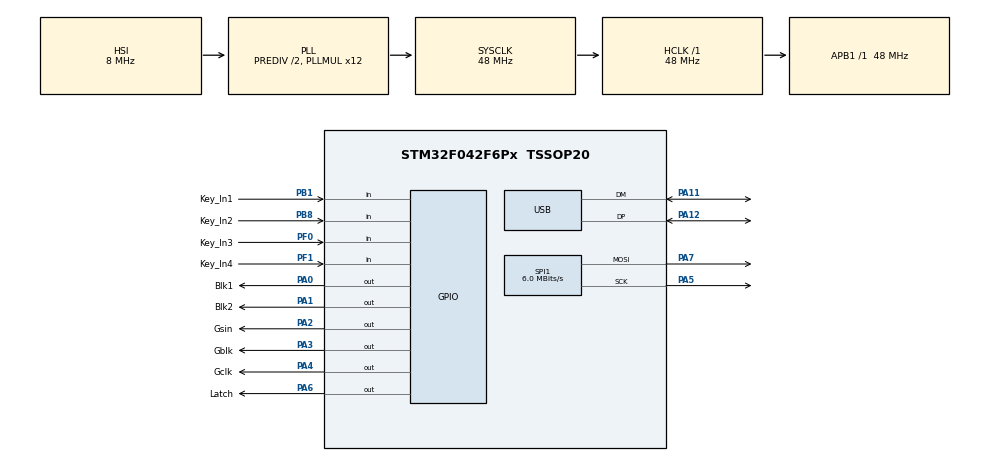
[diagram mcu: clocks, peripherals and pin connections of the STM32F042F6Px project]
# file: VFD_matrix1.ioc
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Dma.Request0=SPI1_TX
Dma.SPI1_TX.0.Direction=DMA_MEMORY_TO_PERIPH
Dma.SPI1_TX.0.Instance=DMA1_Channel3
Dma.SPI1_TX.0.MemDataAlignment=DMA_MDATAALIGN_BYTE
Dma.SPI1_TX.0.MemInc=DMA_MINC_ENABLE
Dma.SPI1_TX.0.Mode=DMA_NORMAL
Dma.SPI1_TX.0.PeriphDataAlignment=DMA_PDATAALIGN_BYTE
Dma.SPI1_TX.0.PeriphInc=DMA_PINC_DISABLE
Dma.SPI1_TX.0.Priority=DMA_PRIORITY_MEDIUM
Mcu.Family=STM32F0
Mcu.Name=STM32F042F6Px
Mcu.Package=TSSOP20
NVIC.DMA1_Channel2_3_IRQn=true\:1\:0\:true\:false\:true\:false\:true
NVIC.TIM16_IRQn=true\:1\:0\:true\:false\:true\:true\:true
NVIC.USB_IRQn=true\:0\:0\:false\:false\:true\:false\:true
PA0.GPIO_Label=Blk1
PA0.GPIO_Speed=GPIO_SPEED_FREQ_HIGH
PA0.Signal=GPIO_Output
PA1.GPIO_Label=Blk2
PA1.GPIO_Speed=GPIO_SPEED_FREQ_HIGH
PA1.Signal=GPIO_Output
PA11.Mode=Device
PA11.Signal=USB_DM
PA12.Mode=Device
PA12.Signal=USB_DP
PA13.Mode=Serial_Wire
PA13.Signal=SYS_SWDIO
PA14.Mode=Serial_Wire
PA14.Signal=SYS_SWCLK
PA2.GPIO_Label=Gsin
PA2.GPIO_Speed=GPIO_SPEED_FREQ_HIGH
PA2.Signal=GPIO_Output
PA3.GPIO_Label=Gblk
PA3.GPIO_Speed=GPIO_SPEED_FREQ_HIGH
PA3.Signal=GPIO_Output
PA4.GPIO_Label=Gclk
PA4.GPIO_Speed=GPIO_SPEED_FREQ_HIGH
PA4.Signal=GPIO_Output
PA5.GPIO_PuPd=GPIO_NOPULL
PA5.Mode=TX_Only_Simplex_Unidirect_Master
PA5.Signal=SPI1_SCK
PA6.GPIO_Label=Latch
PA6.GPIO_Speed=GPIO_SPEED_FREQ_HIGH
PA6.Signal=GPIO_Output
PA7.GPIO_PuPd=GPIO_NOPULL
PA7.Mode=TX_Only_Simplex_Unidirect_Master
PA7.Signal=SPI1_MOSI
PB1.GPIO_Label=Key_In1
PB1.Signal=GPIO_Input
PB8.GPIO_Label=Key_In2
PB8.Signal=GPIO_Input
PF0-OSC_IN.GPIO_Label=Key_In3
PF0-OSC_IN.Signal=GPIO_Input
PF1-OSC_OUT.GPIO_Label=Key_In4
PF1-OSC_OUT.Signal=GPIO_Input
ProjectManager.HeapSize=0x100
ProjectManager.StackSize=0x200
ProjectManager.TargetToolchain=STM32CubeIDE
RCC.AHBFreq_Value=48000000
RCC.APB1Freq_Value=48000000
RCC.APB1TimFreq_Value=48000000
RCC.HCLKFreq_Value=48000000
RCC.PLLDivider=RCC_PREDIV_DIV2
RCC.PLLMUL=RCC_PLL_MUL12
RCC.SYSCLKFreq_VALUE=48000000
RCC.SYSCLKSource=RCC_SYSCLKSOURCE_PLLCLK
SPI1.BaudRatePrescaler=SPI_BAUDRATEPRESCALER_8
SPI1.CLKPolarity=SPI_POLARITY_LOW
SPI1.CalculateBaudRate=6.0 MBits/s
SPI1.DataSize=SPI_DATASIZE_8BIT
SPI1.Direction=SPI_DIRECTION_2LINES
SPI1.Mode=SPI_MODE_MASTER
SPI1.NSSPMode=SPI_NSS_PULSE_DISABLE
SPI1.VirtualType=VM_MASTER
TIM16.Channel=TIM_CHANNEL_1
TIM16.OC1Preload=ENABLE
TIM16.Period=78
TIM16.Prescaler=47
USB_DEVICE.APP_RX_DATA_SIZE=16
USB_DEVICE.APP_TX_DATA_SIZE=16
USB_DEVICE.CLASS_NAME_FS=CDC
USB_DEVICE.USBD_MAX_STR_DESC_SIZ=512
USB_DEVICE.VirtualMode=Cdc
USB_DEVICE.VirtualModeFS=Cdc_FS
VP_SYS_VS_PINREMAP.Mode=PINREMAP
VP_TIM16_VS_ClockSourceINT.Mode=Enable_Timer
VP_TIM16_VS_no_output1.Mode=Output Compare1 No Output
VP_USB_DEVICE_VS_USB_DEVICE_CDC_FS.Mode=CDC_FS
board=custom

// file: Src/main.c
/* USER CODE BEGIN Header */
/**
  ******************************************************************************
  * @file           : main.c
  * @brief          : Main program body
  * 				:(c) maxspb69@gmail.com
  ******************************************************************************
  * @attention
  *
  * <h2><center>&copy; Copyright (c) 2021 STMicroelectronics.
  * All rights reserved.</center></h2>
  *
  * This software component is licensed by ST under BSD 3-Clause license,
  * the "License"; You may not use this file except in compliance with the
  * License. You may obtain a copy of the License at:
  *                        opensource.org/licenses/BSD-3-Clause
  *
  ******************************************************************************
  */
/* USER CODE END Header */
#include "main.h"
#include "usb_device.h"

/* USER CODE BEGIN Includes */
#include "VFD_driver.h"
/* USER CODE END Includes */

/* USER CODE BEGIN PD */
#define PACKET_SIZE 18
#define LINK_TIMEOUT 60 //3 sec (in 50ms parts)
/* USER CODE END PD */

SPI_HandleTypeDef hspi1;
DMA_HandleTypeDef hdma_spi1_tx;

TIM_HandleTypeDef htim16;

/* USER CODE BEGIN PV */

uint8_t str_rx[21];
uint8_t rx_len = 0;
uint8_t crc_calc;

const uint8_t decode_keys[4] = {0, 3, 1, 2};
char str1[64];

volatile uint8_t Key_Table[4];

uint8_t RX_packet[PACKET_SIZE];

extern uint8_t Brightness;
uint8_t link_timer = LINK_TIMEOUT - 1;
uint8_t out_of_serv_flag = 0;

/* USER CODE END PV */

void SystemClock_Config(void);
static void MX_GPIO_Init(void);
static void MX_DMA_Init(void);
static void MX_SPI1_Init(void);
static void MX_TIM16_Init(void);
/* USER CODE BEGIN PFP */

uint8_t calc_checksum(uint8_t * str, uint8_t len);

/* USER CODE END PFP */

int main(void)
{
  /* USER CODE BEGIN 1 */

	 uint8_t i=0;
  /* USER CODE END 1 */

  /* MCU Configuration--------------------------------------------------------*/

  /* Reset of all peripherals, Initializes the Flash interface and the Systick. */
  HAL_Init();

  /* Configure the system clock */
  SystemClock_Config();

  /* Initialize all configured peripherals */
  MX_GPIO_Init();
  MX_DMA_Init();
  MX_SPI1_Init();
  MX_TIM16_Init();
  MX_USB_DEVICE_Init();
  /* USER CODE BEGIN 2 */

  HAL_TIM_Base_Start_IT(&htim16); // Запускаем таймер для генерации прерывания
  Clear_Display();

  //HAL_Delay(500);

  sprintf(str1,"  PIPE CHECK SYSTEM");
  Show_String(0, 0, 12, str1);
  sprintf(str1,"   remote control");
  Show_String(0, 10, 12, str1);
  sprintf(str1,"   ver 1.0    2021 ");
  Show_String(0, 20, 12, str1);

 for(uint8_t i = 0; i < 4; i++)
 {
	 Brightness = i;
	 HAL_Delay(200);
 }
  HAL_Delay(3000);
  Clear_Display();

  str1[0] = 0x00;

  uint8_t pos = 0, line = 0;
  /* USER CODE END 2 */

  /* Infinite loop */
  while (1)
  {

    /* USER CODE BEGIN 3 */

	 /* if(rx_len == 16)
	  {
		  Clear_Display();
		  pos = 0; line = 0;
		  for(uint8_t i = 0; i < rx_len; i++)
		  {
			  sprintf(str1, "%02x ", str_rx[i]);
			  Show_String(pos, line, 12, str1);
			  pos += 18;
			  if(pos > 96)
			  {
				  pos = 0;
				  line += 10;
			  }
		  }
		  rx_len = 0;
	  }
	  */

	  if(rx_len == PACKET_SIZE)
	  {

		  memcpy(RX_packet, str_rx, PACKET_SIZE);
		  rx_len = 0;

		  if(RX_packet[0] == 0xab && RX_packet[1] == 0xba)	// Заголовок правильный
		  {
			  crc_calc = 0;
			  for(uint8_t i = 0; i < PACKET_SIZE - 1; i++)
				  crc_calc += RX_packet[i];
			  if(crc_calc == RX_packet[PACKET_SIZE-1])
			 {

				  print_data();
				  link_timer = 0;		// Сбрасываем счетчик таймаута
				  if(out_of_serv_flag)
				  {
					  Clear_Display();
					  out_of_serv_flag = 0;
				  }

			 }

		  }
	  }
	  link_timer++;
	  if(link_timer > LINK_TIMEOUT && out_of_serv_flag == 0)
	  {
		  Clear_Display();
		  out_of_serv_flag = 1;
		  sprintf(str1, "OUT OF SERVICE!");
		  Show_String(0, 8, 16, str1);
	  }

//--------------------- А тут проверим кнопочки - может клацнул кто по какой-нибудь из них -------------------------------------------------------------------------

	str1[0] = 0xba;
	str1[1] = 0xab;

	for(uint8_t i = 0; i < 4; i++)
		if(Key_Table[i] == 1)
		{
			str1[2] = decode_keys[i];
			str1[3] = calc_checksum(str1, 3);
			CDC_Transmit_FS(str1, 4);
			Key_Table[i] |= 0x80;
		}

HAL_Delay(50);

  }
  /* USER CODE END 3 */
}

void SystemClock_Config(void)
{
  RCC_OscInitTypeDef RCC_OscInitStruct = {0};
  RCC_ClkInitTypeDef RCC_ClkInitStruct = {0};
  RCC_PeriphCLKInitTypeDef PeriphClkInit = {0};

  /** Initializes the RCC Oscillators according to the specified parameters
  * in the RCC_OscInitTypeDef structure.
  */
  RCC_OscInitStruct.OscillatorType = RCC_OSCILLATORTYPE_HSI|RCC_OSCILLATORTYPE_HSI48;
  RCC_OscInitStruct.HSIState = RCC_HSI_ON;
  RCC_OscInitStruct.HSI48State = RCC_HSI48_ON;
  RCC_OscInitStruct.HSICalibrationValue = RCC_HSICALIBRATION_DEFAULT;
  RCC_OscInitStruct.PLL.PLLState = RCC_PLL_ON;
  RCC_OscInitStruct.PLL.PLLSource = RCC_PLLSOURCE_HSI;
  RCC_OscInitStruct.PLL.PLLMUL = RCC_PLL_MUL12;
  RCC_OscInitStruct.PLL.PREDIV = RCC_PREDIV_DIV2;
  if (HAL_RCC_OscConfig(&RCC_OscInitStruct) != HAL_OK)
  {
    Error_Handler();
  }
  /** Initializes the CPU, AHB and APB buses clocks
  */
  RCC_ClkInitStruct.ClockType = RCC_CLOCKTYPE_HCLK|RCC_CLOCKTYPE_SYSCLK
                              |RCC_CLOCKTYPE_PCLK1;
  RCC_ClkInitStruct.SYSCLKSource = RCC_SYSCLKSOURCE_PLLCLK;
  RCC_ClkInitStruct.AHBCLKDivider = RCC_SYSCLK_DIV1;
  RCC_ClkInitStruct.APB1CLKDivider = RCC_HCLK_DIV1;

  if (HAL_RCC_ClockConfig(&RCC_ClkInitStruct, FLASH_LATENCY_1) != HAL_OK)
  {
    Error_Handler();
  }
  PeriphClkInit.PeriphClockSelection = RCC_PERIPHCLK_USB;
  PeriphClkInit.UsbClockSelection = RCC_USBCLKSOURCE_HSI48;

  if (HAL_RCCEx_PeriphCLKConfig(&PeriphClkInit) != HAL_OK)
  {
    Error_Handler();
  }
}

static void MX_SPI1_Init(void)
{

  /* SPI1 parameter configuration*/
  hspi1.Instance = SPI1;
  hspi1.Init.Mode = SPI_MODE_MASTER;
  hspi1.Init.Direction = SPI_DIRECTION_2LINES;
  hspi1.Init.DataSize = SPI_DATASIZE_8BIT;
  hspi1.Init.CLKPolarity = SPI_POLARITY_LOW;
  hspi1.Init.CLKPhase = SPI_PHASE_1EDGE;
  hspi1.Init.NSS = SPI_NSS_SOFT;
  hspi1.Init.BaudRatePrescaler = SPI_BAUDRATEPRESCALER_8;
  hspi1.Init.FirstBit = SPI_FIRSTBIT_MSB;
  hspi1.Init.TIMode = SPI_TIMODE_DISABLE;
  hspi1.Init.CRCCalculation = SPI_CRCCALCULATION_DISABLE;
  hspi1.Init.CRCPolynomial = 7;
  hspi1.Init.CRCLength = SPI_CRC_LENGTH_DATASIZE;
  hspi1.Init.NSSPMode = SPI_NSS_PULSE_DISABLE;
  if (HAL_SPI_Init(&hspi1) != HAL_OK)
  {
    Error_Handler();
  }

}

static void MX_TIM16_Init(void)
{

  TIM_OC_InitTypeDef sConfigOC = {0};
  TIM_BreakDeadTimeConfigTypeDef sBreakDeadTimeConfig = {0};

  htim16.Instance = TIM16;
  htim16.Init.Prescaler = 47;
  htim16.Init.CounterMode = TIM_COUNTERMODE_UP;
  htim16.Init.Period = 78;
  htim16.Init.ClockDivision = TIM_CLOCKDIVISION_DIV1;
  htim16.Init.RepetitionCounter = 0;
  htim16.Init.AutoReloadPreload = TIM_AUTORELOAD_PRELOAD_DISABLE;
  if (HAL_TIM_Base_Init(&htim16) != HAL_OK)
  {
    Error_Handler();
  }
  if (HAL_TIM_OC_Init(&htim16) != HAL_OK)
  {
    Error_Handler();
  }
  sConfigOC.OCMode = TIM_OCMODE_TIMING;
  sConfigOC.Pulse = 0;
  sConfigOC.OCPolarity = TIM_OCPOLARITY_HIGH;
  sConfigOC.OCNPolarity = TIM_OCNPOLARITY_HIGH;
  sConfigOC.OCFastMode = TIM_OCFAST_DISABLE;
  sConfigOC.OCIdleState = TIM_OCIDLESTATE_RESET;
  sConfigOC.OCNIdleState = TIM_OCNIDLESTATE_RESET;
  if (HAL_TIM_OC_ConfigChannel(&htim16, &sConfigOC, TIM_CHANNEL_1) != HAL_OK)
  {
    Error_Handler();
  }
  __HAL_TIM_ENABLE_OCxPRELOAD(&htim16, TIM_CHANNEL_1);
  sBreakDeadTimeConfig.OffStateRunMode = TIM_OSSR_DISABLE;
  sBreakDeadTimeConfig.OffStateIDLEMode = TIM_OSSI_DISABLE;
  sBreakDeadTimeConfig.LockLevel = TIM_LOCKLEVEL_OFF;
  sBreakDeadTimeConfig.DeadTime = 0;
  sBreakDeadTimeConfig.BreakState = TIM_BREAK_DISABLE;
  sBreakDeadTimeConfig.BreakPolarity = TIM_BREAKPOLARITY_HIGH;
  sBreakDeadTimeConfig.AutomaticOutput = TIM_AUTOMATICOUTPUT_DISABLE;
  if (HAL_TIMEx_ConfigBreakDeadTime(&htim16, &sBreakDeadTimeConfig) != HAL_OK)
  {
    Error_Handler();
  }

}

static void MX_DMA_Init(void)
{

  /* DMA controller clock enable */
  __HAL_RCC_DMA1_CLK_ENABLE();

  /* DMA interrupt init */
  /* DMA1_Channel2_3_IRQn interrupt configuration */
  HAL_NVIC_SetPriority(DMA1_Channel2_3_IRQn, 1, 0);
  HAL_NVIC_EnableIRQ(DMA1_Channel2_3_IRQn);

}

static void MX_GPIO_Init(void)
{
  GPIO_InitTypeDef GPIO_InitStruct = {0};

  /* GPIO Ports Clock Enable */
  __HAL_RCC_GPIOB_CLK_ENABLE();
  __HAL_RCC_GPIOF_CLK_ENABLE();
  __HAL_RCC_GPIOA_CLK_ENABLE();

  /*Configure GPIO pin Output Level */
  HAL_GPIO_WritePin(GPIOA, Blk1_Pin|Blk2_Pin|Gsin_Pin|Gblk_Pin
                          |Gclk_Pin|Latch_Pin, GPIO_PIN_RESET);

  /*Configure GPIO pins : Key_In2_Pin Key_In1_Pin */
  GPIO_InitStruct.Pin = Key_In2_Pin|Key_In1_Pin;
  GPIO_InitStruct.Mode = GPIO_MODE_INPUT;
  GPIO_InitStruct.Pull = GPIO_NOPULL;
  HAL_GPIO_Init(GPIOB, &GPIO_InitStruct);

  /*Configure GPIO pins : Key_In3_Pin Key_In4_Pin */
  GPIO_InitStruct.Pin = Key_In3_Pin|Key_In4_Pin;
  GPIO_InitStruct.Mode = GPIO_MODE_INPUT;
  GPIO_InitStruct.Pull = GPIO_NOPULL;
  HAL_GPIO_Init(GPIOF, &GPIO_InitStruct);

  /*Configure GPIO pins : Blk1_Pin Blk2_Pin Gsin_Pin Gblk_Pin
                           Gclk_Pin Latch_Pin */
  GPIO_InitStruct.Pin = Blk1_Pin|Blk2_Pin|Gsin_Pin|Gblk_Pin
                          |Gclk_Pin|Latch_Pin;
  GPIO_InitStruct.Mode = GPIO_MODE_OUTPUT_PP;
  GPIO_InitStruct.Pull = GPIO_NOPULL;
  GPIO_InitStruct.Speed = GPIO_SPEED_FREQ_HIGH;
  HAL_GPIO_Init(GPIOA, &GPIO_InitStruct);

}

/* USER CODE BEGIN 4 */

uint8_t calc_checksum(uint8_t * str, uint8_t len)
{
	uint8_t result = 0;

	for(uint8_t i = 0; i < len; i++)
		result += str[i];

	return result;

}

void print_data(void)
{
	  uint32_t T, D, n;
	  uint8_t T_dec, D_dec;
	  n = (RX_packet[5] << 24) + (RX_packet[4] << 16) + (RX_packet[3] << 8) + RX_packet[2];
	  T = n / 100;
	  T_dec = n % 100;
	  n= (RX_packet[9] << 24) + (RX_packet[8] << 16) + (RX_packet[7] << 8) + RX_packet[6];
	  D = n / 100;
	  D_dec = n % 100;
	//  Clear_Display();
	  sprintf(str1," T=%04d.%02d D=%04d.%02d", T, T_dec, D, D_dec);
	  Show_String(0, 10, 12, str1);
	  sprintf(str1," %02d:%02d:%02d %02d.%02d.%04d", RX_packet[13], RX_packet[14], RX_packet[15], RX_packet[10], RX_packet[11], RX_packet[12] + 2000);
	  Show_String(0, 0, 12, str1);
	  if(RX_packet[16] == 2)
		  sprintf(str1," ----- PAUSE -----");
	  else
		  if(RX_packet[16] == 1)
		     sprintf(str1,"   ----- RUN -----");
		  else
			  sprintf(str1,"  ----- STOP -----");
	  Show_String(0, 20, 12, str1);

}

/* USER CODE END 4 */

void Error_Handler(void)
{
  __disable_irq();
  while (1)
  {
  }
}
